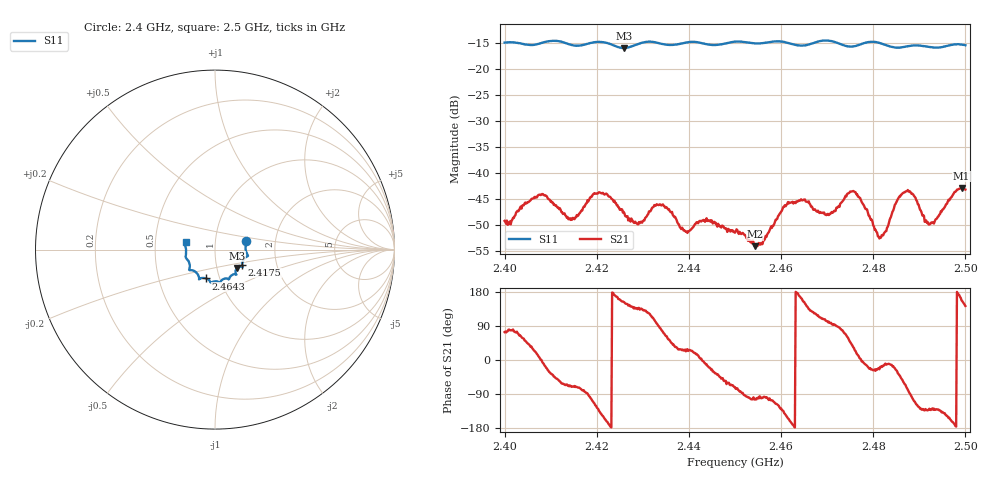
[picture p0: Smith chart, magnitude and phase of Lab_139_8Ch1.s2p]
# Hz S RI R 50
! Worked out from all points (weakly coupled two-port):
!   601 points, 2.4 GHz to 2.5 GHz, reference 50 ohm
!   highest |S21| = -42.92 dB at 2.4992 GHz (marker M1); lowest = -54.1 dB at 2.4543 GHz (marker M2)
!   lowest |S11| = -15.9 dB at 2.4258 GHz (marker M3), VSWR 1.38, Z = 62.3 - j13.2 ohm
!   |S11| at or under -10 dB: start of sweep to end of sweep
!   S12 and S22 are empty: the file has one direction only
!   S11 on the Smith chart (normalised r, x): 2.4 GHz: 1.41, +0.14; 2.4175 GHz: 1.33, -0.23; 2.4643 GHz: 0.86, -0.28; 2.5 GHz: 0.72, +0.06
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2.4e9  0.1731 0.0486  0.000968 0.0033  0 0  0 0
2.407833e9  0.1766 -0.0188  0.00611 9.06e-05  0 0  0 0
2.414e9  0.1669 -0.0465  0.00126 -0.00336  0 0  0 0
2.416667e9  0.1524 -0.0739  0.00092 -0.00423  0 0  0 0
2.4175e9  0.1513 -0.0836  0.000466 -0.00488  0 0  0 0
2.421e9  0.1542 -0.0973  -0.00506 -0.00383  0 0  0 0
2.425833e9  0.1219 -0.1029  -0.00376 0.0019  0 0  0 0
2.429333e9  0.1157 -0.1339  -0.00223 0.0024  0 0  0 0
2.433333e9  0.1136 -0.1373  -3.87e-05 0.0049  0 0  0 0
2.439333e9  0.0793 -0.1614  0.00249 0.00105  0 0  0 0
2.45e9  0.0286 -0.1814  0.000832 -0.00252  0 0  0 0
2.454333e9  0.00796 -0.1765  -0.000484 -0.00191  0 0  0 0
2.464333e9  -0.0498 -0.1607  -0.00532 0.0016  0 0  0 0
2.466667e9  -0.0763 -0.1587  -0.00294 0.00372  0 0  0 0
2.470333e9  -0.0886 -0.1656  -0.000774 0.00385  0 0  0 0
2.475667e9  -0.1128 -0.1209  0.00557 0.00371  0 0  0 0
2.481167e9  -0.1433 -0.1084  0.00227 -0.000885  0 0  0 0
2.483333e9  -0.1404 -0.0899  0.00315 -0.000558  0 0  0 0
2.487e9  -0.1552 -0.0546  0.0027 -0.00604  0 0  0 0
2.4925e9  -0.1609 -0.0202  -0.00221 -0.00245  0 0  0 0
2.499167e9  -0.1681 0.0387  -0.0066 0.00274  0 0  0 0
2.5e9  -0.1641 0.0429  -0.00548 0.0042  0 0  0 0
